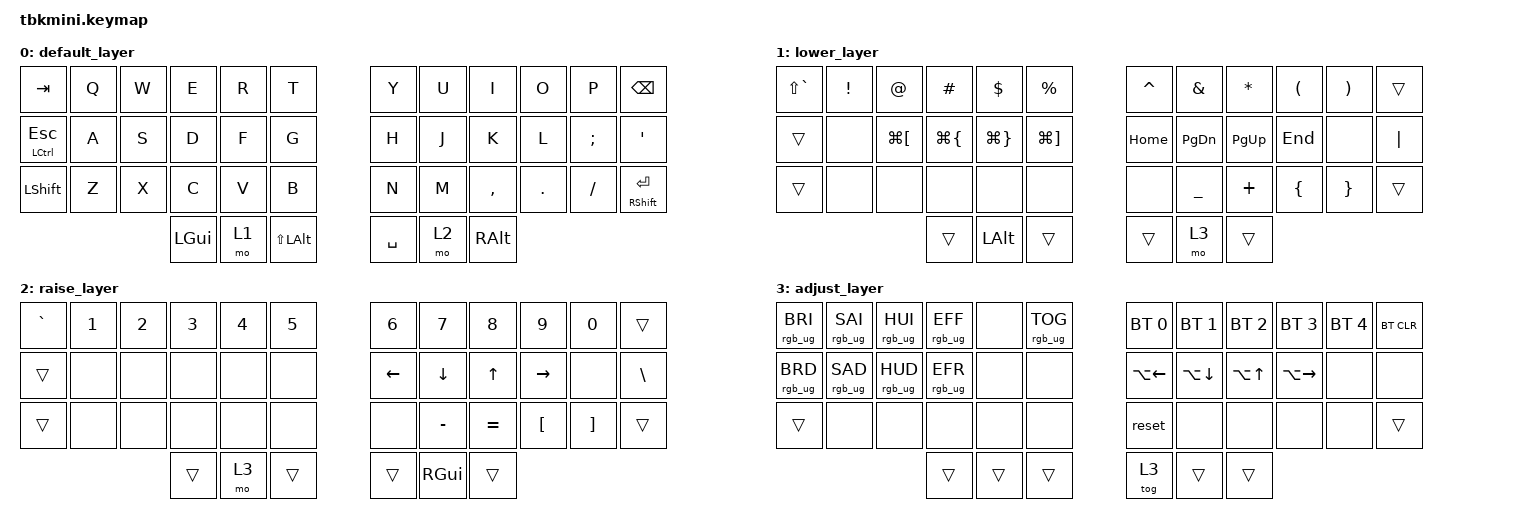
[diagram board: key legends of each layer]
#include <behaviors.dtsi>
#include <dt-bindings/zmk/keys.h>
#include <dt-bindings/zmk/bt.h>
#include <dt-bindings/zmk/rgb.h>

&lt {
  tapping-term-ms = <300>;
  quick_tap_ms = <200>;
  flavor = "hold-preferred";
};

 
/ {
  chosen {
		zmk,matrix_transform = &default_transform;
  };

        keymap {
                compatible = "zmk,keymap";

                default_layer {
// -----------------------------------------------------------------------------------------
// |  TAB     |  Q  |  W  |  E  |  R  |  T  |   |  Y  |  U   |  I  |  O  |  P  |   BKSP    |
// | CTRL/ESC |  A  |  S  |  D  |  F  |  G  |   |  H  |  J   |  K  |  L  |  ;  |    '      |
// | SHFT     |  Z  |  X  |  C  |  V  |  B  |   |  N  |  M   |  ,  |  .  |  /  | SHFT(RET) |
//                             | GUI | LWR | SPC | RSE  | ALT |
                        bindings = <
   &kp TAB   &kp Q &kp W &kp E &kp R &kp T   &kp Y &kp U  &kp I     &kp O   &kp P    &kp BSPC
   &mt LCTRL ESC &kp A &kp S &kp D &kp F &kp G   &kp H &kp J  &kp K     &kp L   &kp SEMI &kp SQT
   &kp LSHFT &kp Z &kp X &kp C &kp V &kp B   &kp N &kp M  &kp COMMA &kp DOT &kp FSLH &mt RSHFT RET
                        &kp LGUI  &mo 1 &kp LS(LALT) &kp SPACE &mo 2  &kp RALT
                        >;
                };

                lower_layer {
// ----------------------------------------------------------------------------------
// | ~  |  !  |  @  |  #  |  $  |  %  |   |  ^  |  &  |  *  |  (  |  )  |           |
// |    |     |back |tleft|trght|forth|   | HOME| PGDN |PGUP| END |  `  |     |     |
// |    |     |     |     |     |     |   |  _  |  +   | {  |  }  |     |           |
//                        |     | GUI |   | ADJ |      |
                        bindings = <
   &kp LS(GRAVE) &kp EXCL  &kp AT      &kp HASH &kp DLLR &kp PRCNT      &kp CARET &kp AMPS &kp STAR  &kp LPAR  &kp RPAR  &trans
   &trans &none &kp LG(LBKT) &kp LG(LBRC) &kp LG(RBRC) &kp LG(RBKT)      &kp HOME  &kp PG_DN &kp PG_UP &kp END &none &kp PIPE
   &trans &none &none &none &none &none                                  &none &kp UNDER &kp PLUS &kp LBRC &kp RBRC &trans
                                 &trans &kp LALT   &trans &trans   &mo 3       &trans
                        >;
                };

                raise_layer {
// -----------------------------------------------------------------------------------------
// | `  |  1  |  2  |  3  |  4  |  5  |   |  6  |  7  |  8  |  9  |  0  | DEL |
// |    |     |     |     |     |     |   | F1  | F2  | F3  | F4  | F5  | F6  |
// |    | ESC | GUI | ALT | CAPS|  "  |   | F7  | F8  | F9  | F10 | F11 | F12 |
//                       |     | ADJ | BKSP |    |     |
                        bindings = <
   &kp GRAVE &kp N1    &kp N2    &kp N3    &kp N4    &kp N5        &kp N6    &kp N7    &kp N8    &kp N9    &kp N0    &trans
   &trans &none &none &none &none &none     &kp LEFT   &kp DOWN    &kp UP    &kp RIGHT    &none    &kp BSLH
   &trans &none &none &none &none &none     &none    &kp MINUS    &kp EQUAL  &kp LBKT  &kp RBKT   &trans
                                &trans      &mo 3    &trans  &trans     &kp RGUI   &trans
                        >;
                };

                adjust_layer {
// -----------------------------------------------------------------------------------------
// | RGB BRI+ | RGB SAT+ | RGB HUE+ | RGB ANI+ |    | RGB TOG |   |  BT1  | BT2 | BT3 | BT4 | BT5 | BT CLR |
// | RGB BRI- | RGB SAT- | RGB HUE- | RGB ANI+ |    |         | SALEFT  | SADN | SAUP | SARIGHT |     |     |
// |          |          |          |          |    |         |   | RESET |     |     |     |     |        |
//                                              |     |     |     |     |     |
                        bindings = <
   &rgb_ug RGB_BRI &rgb_ug RGB_SAI &rgb_ug RGB_HUI &rgb_ug RGB_EFF &none &rgb_ug RGB_TOG    &bt BT_SEL 0 &bt BT_SEL 1 &bt BT_SEL 2 &bt BT_SEL 3 &bt BT_SEL 4 &bt BT_CLR
   &rgb_ug RGB_BRD &rgb_ug RGB_SAD &rgb_ug RGB_HUD &rgb_ug RGB_EFR &none &none              &kp LA(LEFT) &kp LA(DOWN) &kp LA(UP) &kp LA(RIGHT) &none &none
   &trans           &none           &none           &none           &none &none              &reset       &none        &none        &none        &none        &trans
                                                             &trans      &trans     &trans  &tog 3        &trans      &trans
                        >;
                };
        };

};
